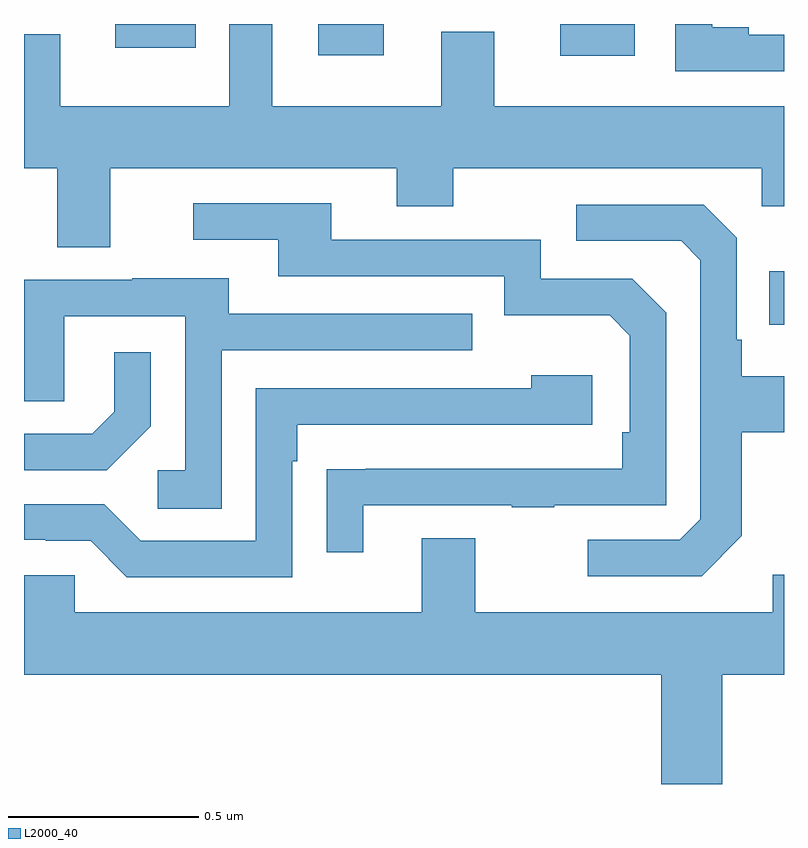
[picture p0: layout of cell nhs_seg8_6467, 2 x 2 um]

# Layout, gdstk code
import gdstk
lib = gdstk.Library(unit=1e-6, precision=1e-09)
def R(c, l, rs):  # rectangles x0, y0, x1, y1
    for r in rs: c.add(gdstk.rectangle(r[:2], r[2:], *l))
def P(c, l, *ps):  # polygons
    for p in ps: c.add(gdstk.Polygon(p, *l))
L2000_40 = (2000, 40)

nhs_seg8_6467 = lib.new_cell('nhs_seg8_6467')
R(nhs_seg8_6467, L2000_40, [(198.961,1096.109,199,1096.249), (198.411,1096.817,198.607,1096.9), (197.774,1096.818,197.947,1096.9), (197.24,1096.838,197.452,1096.9)])
P(nhs_seg8_6467, L2000_40, [(197.227,1096.52),(197.981,1096.52),(197.981,1096.421),(198.129,1096.421),(198.129,1096.52),(198.942,1096.52),(198.942,1096.421),(199,1096.421),(199,1096.684),(198.238,1096.684),(198.238,1096.879),(198.098,1096.879),(198.098,1096.684),(197.653,1096.684),(197.653,1096.9),(197.54,1096.9),(197.54,1096.684),(197.095,1096.684),(197.095,1096.873),(197,1096.873),(197,1096.52),(197.087,1096.52),(197.087,1096.312),(197.227,1096.312)],
  [(199,1096.872),(198.907,1096.872),(198.907,1096.892),(198.811,1096.892),(198.811,1096.9),(198.714,1096.9),(198.714,1096.776),(199,1096.776)],
  [(197.893,1095.633),(198.283,1095.633),(198.283,1095.628),(198.395,1095.628),(198.395,1095.633),(198.69,1095.633),(198.69,1096.14),(198.6,1096.23),(198.36,1096.23),(198.36,1096.332),(197.809,1096.332),(197.809,1096.428),(197.445,1096.428),(197.445,1096.332),(197.669,1096.332),(197.669,1096.236),(198.264,1096.236),(198.264,1096.133),(198.541,1096.133),(198.594,1096.08),(198.594,1095.826),(198.574,1095.826),(198.574,1095.729),(197.899,1095.729),(197.899,1095.728),(197.797,1095.728),(197.797,1095.51),(197.893,1095.51)],
  [(198.889,1095.553),(198.889,1095.826),(199,1095.826),(199,1095.973),(198.889,1095.973),(198.889,1096.069),(198.876,1096.069),(198.876,1096.338),(198.789,1096.425),(198.453,1096.425),(198.453,1096.329),(198.729,1096.329),(198.78,1096.278),(198.78,1095.597),(198.726,1095.543),(198.483,1095.543),(198.483,1095.447),(198.783,1095.447)],
  [(197.52,1096.041),(198.179,1096.041),(198.179,1096.137),(197.539,1096.137),(197.539,1096.231),(197.285,1096.231),(197.285,1096.227),(197,1096.227),(197,1095.907),(197.106,1095.907),(197.106,1096.131),(197.424,1096.131),(197.424,1095.726),(197.352,1095.726),(197.352,1095.625),(197.52,1095.625)],
  [(197.334,1095.842),(197.334,1096.036),(197.237,1096.036),(197.237,1095.879),(197.18,1095.822),(197,1095.822),(197,1095.726),(197.218,1095.726)],
  [(197.706,1095.749),(197.719,1095.749),(197.719,1095.846),(198.496,1095.846),(198.496,1095.976),(198.335,1095.976),(198.335,1095.942),(197.61,1095.942),(197.61,1095.54),(197.307,1095.54),(197.211,1095.636),(197,1095.636),(197,1095.543),(197.057,1095.543),(197.057,1095.54),(197.175,1095.54),(197.271,1095.444),(197.706,1095.444)],
  [(198.837,1095.188),(199,1095.188),(199,1095.451),(198.971,1095.451),(198.971,1095.352),(198.187,1095.352),(198.187,1095.547),(198.047,1095.547),(198.047,1095.352),(197.133,1095.352),(197.133,1095.45),(197,1095.45),(197,1095.188),(198.677,1095.188),(198.677,1094.9),(198.837,1094.9)])

lib.write_gds('nhs_seg8_6467.gds')
